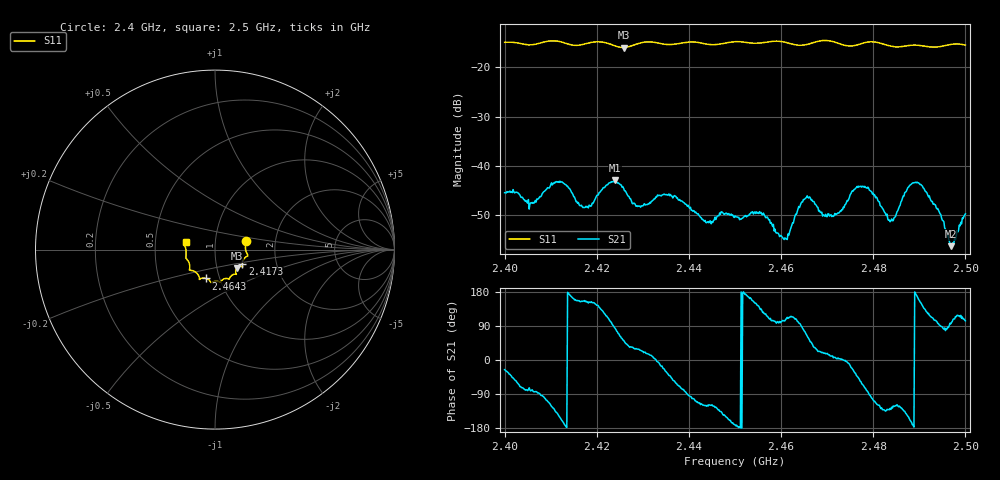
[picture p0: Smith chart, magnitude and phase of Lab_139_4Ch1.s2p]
# Hz S RI R 50
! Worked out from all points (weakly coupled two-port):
!   601 points, 2.4 GHz to 2.5 GHz, reference 50 ohm
!   highest |S21| = -42.98 dB at 2.424 GHz (marker M1); lowest = -56.4 dB at 2.4968 GHz (marker M2)
!   lowest |S11| = -15.9 dB at 2.4258 GHz (marker M3), VSWR 1.38, Z = 62.3 - j13.2 ohm
!   |S11| at or under -10 dB: start of sweep to end of sweep
!   S12 and S22 are empty: the file has one direction only
!   S11 on the Smith chart (normalised r, x): 2.4 GHz: 1.41, +0.14; 2.4173 GHz: 1.34, -0.23; 2.4643 GHz: 0.86, -0.28; 2.5 GHz: 0.72, +0.06
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2.4e9  0.1734 0.0495  0.0048 -0.0023  0 0  0 0
2.405833e9  0.1701 0.00288  0.000758 -0.00415  0 0  0 0
2.412167e9  0.1788 -0.0371  -0.00614 -0.00295  0 0  0 0
2.416667e9  0.1529 -0.0748  -0.0036 0.00166  0 0  0 0
2.417333e9  0.1523 -0.0822  -0.00345 0.00148  0 0  0 0
2.424e9  0.1361 -0.0941  0.000817 0.00705  0 0  0 0
2.425833e9  0.1214 -0.1037  0.00364 0.00463  0 0  0 0
2.429e9  0.1158 -0.1313  0.00343 0.00187  0 0  0 0
2.433333e9  0.1127 -0.1365  0.00494 -0.000476  0 0  0 0
2.443833e9  0.0641 -0.1605  -0.0014 -0.00223  0 0  0 0
2.45e9  0.0298 -0.1806  -0.00306 -0.000468  0 0  0 0
2.455833e9  -0.00545 -0.1779  -0.00208 0.00244  0 0  0 0
2.460833e9  -0.0253 -0.179  -0.000431 0.0018  0 0  0 0
2.464333e9  -0.0501 -0.1605  -1.69e-05 0.00416  0 0  0 0
2.466667e9  -0.0762 -0.1598  0.00326 0.00315  0 0  0 0
2.471e9  -0.0869 -0.163  0.00299 0.000547  0 0  0 0
2.478333e9  -0.1373 -0.1158  0.00154 -0.00582  0 0  0 0
2.483333e9  -0.1406 -0.0897  -0.00181 -0.00212  0 0  0 0
2.489667e9  -0.1628 -0.043  -0.00648 0.00177  0 0  0 0
2.494167e9  -0.162 0.000591  -0.000349 0.00352  0 0  0 0
2.496833e9  -0.1696 0.0251  -0.000145 0.00151  0 0  0 0
2.5e9  -0.1637 0.0419  -0.000744 0.00316  0 0  0 0
